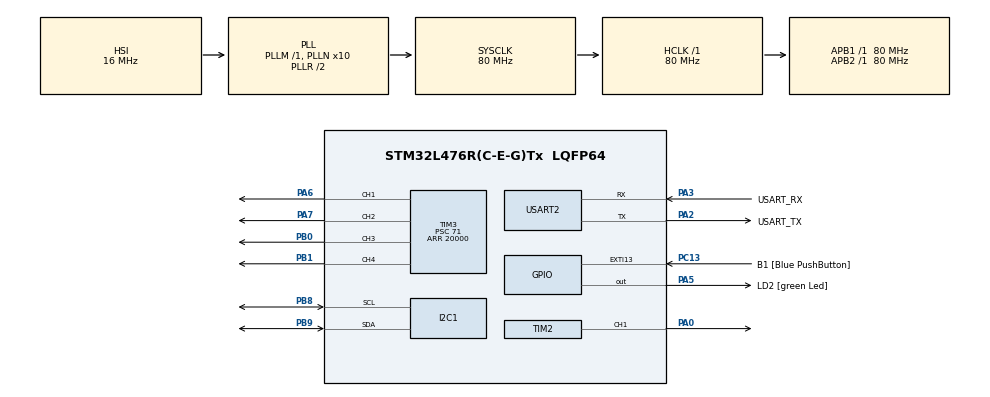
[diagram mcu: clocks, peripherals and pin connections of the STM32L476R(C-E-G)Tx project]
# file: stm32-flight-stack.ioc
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I2C1.Timing=0x10D19CE4
Mcu.Family=STM32L4
Mcu.Name=STM32L476R(C-E-G)Tx
Mcu.Package=LQFP64
NVIC.PriorityGroup=NVIC_PRIORITYGROUP_4
PA0.Signal=S_TIM2_CH1
PA13\ (JTMS-SWDIO).GPIO_Label=TMS
PA13\ (JTMS-SWDIO).Mode=Serial_Wire
PA13\ (JTMS-SWDIO).Signal=SYS_JTMS-SWDIO
PA14\ (JTCK-SWCLK).GPIO_Label=TCK
PA14\ (JTCK-SWCLK).Mode=Serial_Wire
PA14\ (JTCK-SWCLK).Signal=SYS_JTCK-SWCLK
PA2.GPIO_Label=USART_TX
PA2.GPIO_Mode=GPIO_MODE_AF_PP
PA2.GPIO_PuPd=GPIO_NOPULL
PA2.GPIO_Speed=GPIO_SPEED_FREQ_VERY_HIGH
PA2.Mode=Asynchronous
PA2.Signal=USART2_TX
PA3.GPIO_Label=USART_RX
PA3.GPIO_Mode=GPIO_MODE_AF_PP
PA3.GPIO_PuPd=GPIO_NOPULL
PA3.GPIO_Speed=GPIO_SPEED_FREQ_VERY_HIGH
PA3.Mode=Asynchronous
PA3.Signal=USART2_RX
PA5.GPIO_Label=LD2 [green Led]
PA5.GPIO_ModeDefaultOutputPP=GPIO_MODE_OUTPUT_PP
PA5.GPIO_PuPd=GPIO_NOPULL
PA5.GPIO_Speed=GPIO_SPEED_FREQ_LOW
PA5.Signal=GPIO_Output
PA6.Signal=S_TIM3_CH1
PA7.Signal=S_TIM3_CH2
PB0.Signal=S_TIM3_CH3
PB1.Signal=S_TIM3_CH4
PB3\ (JTDO-TRACESWO).GPIO_Label=SWO
PB3\ (JTDO-TRACESWO).Signal=SYS_JTDO-SWO
PB8.Mode=I2C
PB8.Signal=I2C1_SCL
PB9.Mode=I2C
PB9.Signal=I2C1_SDA
PC13.GPIO_Label=B1 [Blue PushButton]
PC13.GPIO_ModeDefaultEXTI=GPIO_MODE_IT_FALLING
PC13.GPIO_PuPd=GPIO_NOPULL
PC13.Signal=GPXTI13
PC14-OSC32_IN\ (PC14).Mode=LSE-External-Oscillator
PC14-OSC32_IN\ (PC14).Signal=RCC_OSC32_IN
PC15-OSC32_OUT\ (PC15).Mode=LSE-External-Oscillator
PC15-OSC32_OUT\ (PC15).Signal=RCC_OSC32_OUT
PH0-OSC_IN\ (PH0).Signal=RCC_OSC_IN
PH1-OSC_OUT\ (PH1).Signal=RCC_OSC_OUT
ProjectManager.HeapSize=0x200
ProjectManager.StackSize=0x400
ProjectManager.TargetToolchain=STM32CubeIDE
RCC.ADCFreq_Value=64000000
RCC.AHBFreq_Value=80000000
RCC.APB1Freq_Value=80000000
RCC.APB1TimFreq_Value=80000000
RCC.APB2Freq_Value=80000000
RCC.APB2TimFreq_Value=80000000
RCC.CortexFreq_Value=80000000
RCC.HCLKFreq_Value=80000000
RCC.HSE_VALUE=8000000
RCC.HSI_VALUE=16000000
RCC.MSI_VALUE=4000000
RCC.PLLN=10
RCC.PLLSourceVirtual=RCC_PLLSOURCE_HSI
RCC.PREFETCH_ENABLE=1
RCC.SYSCLKFreq_VALUE=80000000
RCC.SYSCLKSource=RCC_SYSCLKSOURCE_PLLCLK
RCC.USBFreq_Value=64000000
RCC.VCOOutputFreq_Value=160000000
SH.S_TIM2_CH1.0=TIM2_CH1,PWM Generation1 CH1
SH.S_TIM3_CH1.0=TIM3_CH1,PWM Generation1 CH1
SH.S_TIM3_CH2.0=TIM3_CH2,PWM Generation2 CH2
SH.S_TIM3_CH3.0=TIM3_CH3,PWM Generation3 CH3
SH.S_TIM3_CH4.0=TIM3_CH4,PWM Generation4 CH4
TIM2.Channel-PWM\ Generation1\ CH1=TIM_CHANNEL_1
TIM2.Period=20000
TIM2.Prescaler=71
TIM3.Channel-PWM\ Generation1\ CH1=TIM_CHANNEL_1
TIM3.Channel-PWM\ Generation2\ CH2=TIM_CHANNEL_2
TIM3.Channel-PWM\ Generation3\ CH3=TIM_CHANNEL_3
TIM3.Channel-PWM\ Generation4\ CH4=TIM_CHANNEL_4
TIM3.Period=20000
TIM3.Prescaler=71
USART2.VirtualMode-Asynchronous=VM_ASYNC
VP_TIM2_VS_ClockSourceINT.Mode=Internal
VP_TIM3_VS_ClockSourceINT.Mode=Internal
board=NUCLEO-L476RG

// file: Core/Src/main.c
/* USER CODE BEGIN Header */
/**
  ******************************************************************************
  * @file           : main.c
  * @brief          : Main program body
  ******************************************************************************
  * @attention
  *
  * Copyright (c) 2025 STMicroelectronics.
  * All rights reserved.
  *
  * This software is licensed under terms that can be found in the LICENSE file
  * in the root directory of this software component.
  * If no LICENSE file comes with this software, it is provided AS-IS.
  *
  ******************************************************************************
  */
/* USER CODE END Header */
#include "main.h"

/* USER CODE BEGIN Includes */
#include <math.h>
#include <string.h>
#include <stdio.h>
#include <stdbool.h>

/* USER CODE END Includes */

I2C_HandleTypeDef hi2c1;

TIM_HandleTypeDef htim2;
TIM_HandleTypeDef htim3;

UART_HandleTypeDef huart2;

/* USER CODE BEGIN PV */
// telemetry stuff
uint8_t tx_buf[192];
uint32_t next_telem_ms = 0;
#define TELEMETRY_PERIOD_MS 50
//static uint8_t telem_header_sent = 0;

static inline void uart_print(const char* s) {
  HAL_UART_Transmit(&huart2, (uint8_t*)s, (uint16_t)strlen(s), HAL_MAX_DELAY);
}

int16_t Accel_X_RAW = 0;
int16_t Accel_Y_RAW = 0;
int16_t Accel_Z_RAW = 0;
int16_t Gyro_X_RAW = 0;
int16_t Gyro_Y_RAW = 0;
int16_t Gyro_Z_RAW = 0;

float Ax = 0.0;
float Ay = 0.0;
float Az = 0.0;
float Gx = 0.0;
float Gy = 0.0;
float Gz = 0.0;

// PID stuff
typedef struct pid {
  float Kp, Ki, Kd;
  float error, error_prev;
  float integral, integral_prev;
  float derivative, derivative_prev;
  float out_min, out_max;
  float integral_max, integral_min;
} pid_t;

typedef enum {
  DISARMED = 0,
  ARMED = 1
} arm_state_t;
volatile arm_state_t arm_state = DISARMED;

volatile uint8_t rx_byte = 0;
volatile uint8_t rx_ready = 0;

/* USER CODE END PV */

void SystemClock_Config(void);
static void MX_GPIO_Init(void);
static void MX_USART2_UART_Init(void);
static void MX_I2C1_Init(void);
static void MX_TIM2_Init(void);
static void MX_TIM3_Init(void);

/* USER CODE BEGIN 0 */
#define MPU6050_ADDR (0x68 << 1)

#define SMPLRT_DIV_REG 0x19
#define GYRO_CONFIG_REG 0x18
#define ACCEL_CONFIG_REG 0x1C
#define ACCEL_XOUT_H_REG 0x3B
#define TEMP_OUT_H_REG 0x41
#define GYRO_XOUT_H_REG 0x41
#define PWR_MGMT_1_REG 0x6B
#define WHO_AM_I_REG 0x75

void MPU6050_Init(void) {
	uint8_t check;
	uint8_t data;

	// step 1: check if sensor is responding by checking the WHO_AM_I_REG
	HAL_I2C_Mem_Read(&hi2c1, MPU6050_ADDR, WHO_AM_I_REG,1, &check, 1, 1000);

	if (check == 104) {
		// step 2: configure the PWR_MGMT_1 ()x6B) Register
		// power management register 0x6B -> write all 0s to wake sensor up
		// selects internal clock source of 8MHz
		// Temperature sensor will be enabled
		// CYCLE between sleep mode and wakeup mode will be enabled
		// SLEEP mode will be disabled
		data = 0;
		HAL_I2C_Mem_Write(&hi2c1, MPU6050_ADDR, PWR_MGMT_1_REG, 1, &data, 1, 1000);

		// step 3: set Data Output Rate or Sample Rate
		// - write into SMPLRT_DIV (0x19) Register
		// - specifies the divider from the gyroscope output rate used to generate the Sample Rate for the MPU6050
		data = 0x07;
		HAL_I2C_Mem_Write(&hi2c1, MPU6050_ADDR, SMPLRT_DIV_REG, 1,&data, 1, 1000);

		// step 4: configure Accelerometer and Gyroscope registers by modifying the GYRO_CONFIG (0x1B) and ACCEL_CONFIG (0x1C) registers
		// - sets full scale range of +/- 2g in ACCEL_CONFIG register
		// - sets full scale range of +/- 26-deg/s in GYRO_CONFIG along with Self-test disabled

		// set accelerometer configuration in ACCEL_CONFIG Register
		// XA_ST = 0, YA_ST = 0, ZA_ST = 0, FS_SEL = 0 -> +/- 2g
		data = 0x00;
		HAL_I2C_Mem_Write(&hi2c1, MPU6050_ADDR, ACCEL_CONFIG_REG, 1, &data, 1, 1000);

		// set gyroscopic configuration in GYRO_CONFIG regsiter
		// XG_ST = 0, YG_ST = 0, ZG_ST = 0, FS_SEL = 0 -> +/- 250 deg/second
		data = 0x00;
		HAL_I2C_Mem_Write(&hi2c1, MPU6050_ADDR, GYRO_CONFIG_REG, 1, &data, 1, 1000);

	} else {
		// blink LED to show error
		HAL_GPIO_TogglePin(GPIOA, GPIO_PIN_5);
	}
}

// reading acceleration values:
// - can read one byte from each register separately or just read all 6 bytes in a burst starting from ACCEL_XOUT_H (0x3B) register
// - read 6 bytes of data -> store in Rec_Data buffer

// ACCEL_XOUT_H (ox3B) stores the higher byte for the acceleration data along the X-axis
// ACCEL_XOUT_L stores the lower byte for the acceleration data along the X-axis
// we need to combine these 2 bytes into a 16 bit integer value:
// - shift higher bit 8 bits to the left and add the lower 8 bits to the result
// do the same for the ACCEL_YOUT and ACCEL_ZOUT registers
void MPU6050_Read_Accel(void) {
	uint8_t Rec_Data[6];

	// read 6 bytes of data starting from ACCEL_XOUT_H register
	HAL_I2C_Mem_Read(&hi2c1, MPU6050_ADDR, ACCEL_XOUT_H_REG, 1, Rec_Data, 6, 1000);

	Accel_X_RAW = (int16_t) (Rec_Data[0] << 8 | Rec_Data[1]);
	Accel_Y_RAW = (int16_t) (Rec_Data[2] << 8 | Rec_Data [3]);
	Accel_Z_RAW = (int16_t) (Rec_Data[4] << 8 | Rec_Data[5]);

	// need to convert values to proper g format
	// - for full-scale range of +/- 2g -> sensitivity is 16384 LSB/g
	// - to get g value -> need to divide RAW by 16384
	Ax = (float) Accel_X_RAW / 16384.0;
	Ay = (float) Accel_Y_RAW / 16384.0;
	Az = (float) Accel_Z_RAW / 16384.0;
}

void MPU6050_Read_Accel_Simulated(int16_t imu_data[][6], int imu_index) {
	uint8_t Rec_Data[6];

	// read simulated data from accelerometer
	Accel_X_RAW = imu_data[imu_index][0];
	Accel_Y_RAW = imu_data[imu_index][1];
	Accel_Z_RAW = imu_data[imu_index][2];

	// need to convert values to proper g format
	// - for full-scale range of +/- 2g -> sensitivity is 16384 LSB/g
	// - to get g value -> need to divide RAW by 16384
	Ax = (float) Accel_X_RAW / 16384.0;
	Ay = (float) Accel_Y_RAW / 16384.0;
	Az = (float) Accel_Z_RAW / 16384.0;
}

// do same thing for gyro
void MPU6050_Read_Gyro(void) {
	uint8_t Rec_Data[6];

	// read 6 bytes of data starting from ACCEL_XOUT_H register
	HAL_I2C_Mem_Read(&hi2c1, MPU6050_ADDR, GYRO_XOUT_H_REG, 1, Rec_Data, 6, 1000);

	Gyro_X_RAW = (int16_t) (Rec_Data[0] << 8 | Rec_Data[1]);
	Gyro_Y_RAW = (int16_t) (Rec_Data[2] << 8 | Rec_Data [3]);
	Gyro_Z_RAW = (int16_t) (Rec_Data[4] << 8 | Rec_Data[5]);

	// need to convert values to proper format
	// - for full-scale range of +/- 250 deg/s -> sensitivity is 131 LSB / deg / second
	// - need to divide RAW by 131
	Gx = (float) Gyro_X_RAW / 131.0;
	Gy = (float) Gyro_Y_RAW / 131.0;
	Gz = (float) Gyro_Z_RAW / 131.0;
}

void MPU6050_Read_Gyro_Simulated(int16_t imu_data[][6], int imu_index) {
	uint8_t Rec_Data[6];

	// read simulated data from gyro
	Gyro_X_RAW = imu_data[imu_index][3];
	Gyro_Y_RAW = imu_data[imu_index][4];
	Gyro_Z_RAW = imu_data[imu_index][5];

	// need to convert values to proper format
	// - for full-scale range of +/- 250 deg/s -> sensitivity is 131 LSB / deg / second
	// - need to divide RAW by 131
	Gx = (float) Gyro_X_RAW / 131.0;
	Gy = (float) Gyro_Y_RAW / 131.0;
	Gz = (float) Gyro_Z_RAW / 131.0;
}

typedef struct {
    float pitch;
    float roll;
} Orientation;

Orientation complementary_filter(float pitch, float pitch_acc, float roll, float roll_acc, float alpha) {
	Orientation result;
	result.pitch = alpha * pitch + (1 - alpha) * pitch_acc;
	result.roll = alpha * roll + (1 - alpha) * roll_acc;

	return result;
}

typedef struct u {
  float pitch, roll;
} u_t;

typedef struct omega {
  float pitch, roll;
} omega_t;

typedef struct theta {
  float pitch, roll;
} theta_t;

// pid logic
float update_pid(pid_t* pid, float r, float y, float dt, float alpha) {
  if (dt <= 0.0f) return 0.0f;
  if (alpha < 0.0f) alpha = 0.0f;
  if (alpha > 1.0f) alpha = 1.0f;

  pid->error_prev = pid->error;
  pid->error = r - y;

  pid->integral_prev = pid->integral;
  pid->integral = pid->integral_prev + ((pid->error + pid->error_prev) / 2) * dt;
  if (pid->integral > pid->integral_max) pid->integral = pid->integral_max;
  if (pid->integral < pid->integral_min) pid->integral = pid->integral_min;

  pid->derivative_prev = pid->derivative;
  float raw_derivative = (pid->error - pid->error_prev) / dt;
  pid->derivative = alpha * pid->derivative_prev + (1 - alpha) * raw_derivative;

  float u = pid->Kp*pid->error + pid->Ki*pid->integral + pid->Kd*pid->derivative;

  bool sat_hi = (u > pid->out_max) && (pid->error > 0.0f);
  bool sat_lo = (u < pid->out_min) && (pid->error < 0.0f);
  if (sat_hi || sat_lo) {
    pid->integral = pid->integral_prev; // anti-windup
  }

  if (u > pid->out_max) u = pid->out_max;
  if (u < pid->out_min) u = pid->out_min;

  return u;
}

void angle_pid_loop(pid_t* pid_angle_pitch, pid_t* pid_angle_roll, omega_t* omega, theta_t* theta_set, theta_t* theta_meas, float dt, float alpha) {
  omega->pitch = update_pid(pid_angle_pitch, theta_set->pitch, theta_meas->pitch, dt, alpha);
  omega->roll = update_pid(pid_angle_roll, theta_set->roll, theta_meas->roll, dt, alpha);
}

void rate_pid_loop(pid_t* pid_rate_pitch, pid_t* pid_rate_roll, u_t* u, omega_t* omega, float gx, float gy, float dt, float alpha) {
  u->pitch = update_pid(pid_rate_pitch, omega->pitch, gx, dt, alpha);
  u->roll = update_pid(pid_rate_roll, omega->roll, gy, dt, alpha);
}

void clamp_mix(float* mix) {
    if (*mix < 1000) {
      *mix = 1000;
    } else if (*mix > 2000) {
      *mix = 2000;
    }
  }

  // arming logic stuff
  void pid_zero(pid_t* p) {
    p->error = p->error_prev = 0.0f;
    p->integral = p->integral_prev = 0.0f;
    p->derivative = p->derivative_prev = 0.0f;
  }

  void sync_pwm(uint16_t us) {
    __HAL_TIM_SET_COMPARE(&htim3, TIM_CHANNEL_1, us);
    __HAL_TIM_SET_COMPARE(&htim3, TIM_CHANNEL_2, us);
    __HAL_TIM_SET_COMPARE(&htim3, TIM_CHANNEL_3, us);
    __HAL_TIM_SET_COMPARE(&htim3, TIM_CHANNEL_4, us);
  }

  // UART RX interrupt -> capture 1 byte and re-arm IRQ
  void HAL_UART_RxCpltCallback(UART_HandleTypeDef* huart) {
    if (huart == &huart2) {
      rx_ready = 1;
      HAL_UART_Receive_IT(&huart2, (uint8_t*)&rx_byte, 1);
    }
  }

/* USER CODE END 0 */

int main(void)
{

  /* MCU Configuration--------------------------------------------------------*/

  /* Reset of all peripherals, Initializes the Flash interface and the Systick. */
  HAL_Init();

  /* Configure the system clock */
  SystemClock_Config();

  /* Initialize all configured peripherals */
  MX_GPIO_Init();
  MX_USART2_UART_Init();
  MX_I2C1_Init();
  MX_TIM2_Init();
  MX_TIM3_Init();

  // ---- UART smoke test (blocking) ----
  const char *hello = "BOOT OK\r\n";
  HAL_UART_Transmit(&huart2, (uint8_t*)hello, strlen(hello), HAL_MAX_DELAY);
  for (int i = 0; i < 5; ++i) {
    char buf[64];
    int n = snprintf(buf, sizeof buf, "tick %lu\r\n", (unsigned long)HAL_GetTick());
    HAL_UART_Transmit(&huart2, (uint8_t*)buf, (uint16_t)n, HAL_MAX_DELAY);
    HAL_Delay(500);
  }
  /* USER CODE BEGIN 2 */
  HAL_TIM_PWM_Start(&htim3, TIM_CHANNEL_1);
  HAL_TIM_PWM_Start(&htim3, TIM_CHANNEL_2);
  HAL_TIM_PWM_Start(&htim3, TIM_CHANNEL_3);
  HAL_TIM_PWM_Start(&htim3, TIM_CHANNEL_4);

  __HAL_TIM_SET_COMPARE(&htim3, TIM_CHANNEL_1, 1000);
  __HAL_TIM_SET_COMPARE(&htim3, TIM_CHANNEL_2, 1000);
  __HAL_TIM_SET_COMPARE(&htim3, TIM_CHANNEL_3, 1000);
  __HAL_TIM_SET_COMPARE(&htim3, TIM_CHANNEL_4, 1000);

  // arming thing
  HAL_UART_Receive_IT(&huart2, &rx_byte, 1);
  next_telem_ms = HAL_GetTick();

  MPU6050_Init();

  // mock IMU data for simulation
  int16_t imu_data[][6] = {
      {500, -500, 16000, 30, -40, 20},
      {520, -480, 15900, 32, -42, 22},
      {540, -460, 15800, 35, -44, 24},
      {560, -440, 15700, 37, -46, 26},
      {580, -420, 15600, 39, -48, 28},
      {600, -400, 15500, 41, -50, 30},
      {620, -380, 15400, 43, -52, 32},
      {640, -360, 15300, 45, -54, 34},
      {660, -340, 15200, 47, -56, 36},
      {680, -320, 15100, 49, -58, 38},
      {700, -300, 15000, 51, -60, 40},
      {720, -280, 14900, 53, -62, 42},
      {740, -260, 14800, 55, -64, 44},
      {760, -240, 14700, 57, -66, 46},
      {780, -220, 14600, 59, -68, 48},
      {800, -200, 14500, 61, -70, 50},
      {820, -180, 14400, 63, -72, 52},
      {840, -160, 14300, 65, -74, 54},
      {860, -140, 14200, 67, -76, 56},
      {880, -120, 14100, 69, -78, 58},
  };
  int imu_data_len = sizeof(imu_data) / sizeof(imu_data[0]);
  int imu_index = 0;

  int n = sprintf((char*)tx_buf,
      "H,t_ms,pitch,roll,set_pitch,set_roll,Gx,Gy,omega_sp_pitch,omega_sp_roll,u_rate_pitch,u_rate_roll,armed\r\n");
  uint16_t len = (n > 0 && n < sizeof(tx_buf)) ? (uint16_t)n : (uint16_t)(sizeof(tx_buf) - 1);
  HAL_UART_Transmit(&huart2, tx_buf, len, HAL_MAX_DELAY);
  next_telem_ms = HAL_GetTick();

  /* USER CODE END 2 */

  /* Infinite loop */
  /* USER CODE BEGIN WHILE */
  float pitch = 0.0f;
  float roll = 0.0f;
//  float alpha = 0.98f;

  pid_t pid_angle_pitch;
  pid_t pid_angle_roll;
  pid_t pid_rate_pitch;
  pid_t pid_rate_roll;

  pid_angle_pitch = (pid_t){
    .Kp = 2.2f,
    .Ki = 0.02f,
	.Kd = 0.05f,
    .out_min = -100.0f,
	.out_max = 100.0f,
    .integral_min = -10.0f,
	.integral_max = 10.0f
  };
  pid_angle_roll = pid_angle_pitch;

  // ---- RATE (inner) PID -> outputs motor µs
  pid_rate_pitch = (pid_t){
    .Kp = 12.0f,
    .Ki = 3.0f,
	.Kd = 0.20f,
    .out_min = -250.0f,
	.out_max = 250.0f,
    .integral_min = -80.0f,
	.integral_max = 80.0f
  };
  pid_rate_roll = pid_rate_pitch;

  theta_t theta_set = {.pitch = 0.0f, .roll=0.0f};
  theta_t theta_meas = {.pitch = 0.0f, .roll = 0.0f};

  u_t update_throttle;
  update_throttle.pitch = 0.0f;
  update_throttle.roll = 0.0f;

  int32_t last_outer_ms = HAL_GetTick();
  int32_t last_inner_ms = last_outer_ms;

  const int32_t OUTER_PERIOD_MS = 10;
  const int32_t INNER_PERIOD_MS = 2;

  float dt_outer = OUTER_PERIOD_MS / 1000.0f;
  float dt_inner = INNER_PERIOD_MS / 1000.0f;

  float base_throttle = 1100.f;
  omega_t omega_set;
  omega_set.pitch = 0;
  omega_set.roll = 0;

  while (1)
  {

	// fake arm for plots
	  arm_state = ARMED;

    if (rx_ready) {
      // arming
      int8_t c = rx_byte;
      rx_ready = 0;

      if (c == 'a') {
        arm_state = ARMED;
        pid_zero(&pid_angle_pitch);
        pid_zero(&pid_angle_roll);
        pid_zero(&pid_rate_pitch);
        pid_zero(&pid_rate_roll);
        const char* m = "ARMED\r\n";
        HAL_UART_Transmit(&huart2, (uint8_t*)m, strlen(m), HAL_MAX_DELAY);
      } else if (c == 'd') {
        arm_state = DISARMED;
        pid_zero(&pid_angle_pitch);
        pid_zero(&pid_angle_roll);
        pid_zero(&pid_rate_pitch);
        pid_zero(&pid_rate_roll);
        sync_pwm(1000);
        const char* m = "DISARMED\r\n";
        HAL_UART_Transmit(&huart2, (uint8_t*)m, strlen(m), HAL_MAX_DELAY);
      }

    }

    int32_t now = HAL_GetTick();
    bool inner_due = (int32_t)(now - last_inner_ms) >= INNER_PERIOD_MS;
    bool outer_due = (int32_t)(now - last_outer_ms) >= OUTER_PERIOD_MS;

    // both are due
    if (outer_due) {
      dt_outer = (now - last_outer_ms) / 1000.0f;
      if (dt_outer < 0.0005f) {
        dt_outer = OUTER_PERIOD_MS / 1000.0f;
      }
      last_outer_ms = now;

      // commented out because we are simply simulating
       // read accelerometer and gyro data
//      MPU6050_Read_Accel_Simulated(imu_data, imu_index);
//      MPU6050_Read_Gyro_Simulated(imu_data, imu_index);
//
//      // raw accelerometer estimates
//      float pitch_acc = atan2f(Ay, sqrtf(Ax * Ax + Az * Az)) * 180.0f / M_PI;
//      float roll_acc = atan2f(-Ax, Az) * 180.0f / M_PI;
//
//      // integrate gyro data (rate * dt)
//      pitch += Gx * dt_outer;
//      roll += Gy * dt_outer;
//
//      Orientation filtered = complementary_filter(pitch, pitch_acc, roll, roll_acc, alpha);
//      pitch = filtered.pitch;
//      roll = filtered.roll;

      // mini-plant for plots
      static float motor_cmd_p = 0.0f, motor_cmd_r = 0.0f;
      static float rate_x = 0.0f,    rate_y = 0.0f;

      const float tau_motor = 0.06f;
      const float k_u2acc   = 0.02f;
      const float d_rate    = 0.6f;

      float u_rate_p = update_throttle.pitch;
      float u_rate_r = update_throttle.roll;

      motor_cmd_p += (u_rate_p - motor_cmd_p) * (dt_outer / tau_motor);
      motor_cmd_r += (u_rate_r - motor_cmd_r) * (dt_outer / tau_motor);

      float alpha_x = k_u2acc * motor_cmd_p - d_rate * rate_x;
      float alpha_y = k_u2acc * motor_cmd_r - d_rate * rate_y;

      rate_x += alpha_x * dt_outer;
      rate_y += alpha_y * dt_outer;

      pitch += rate_x * dt_outer;
      roll  += rate_y * dt_outer;

      Gx = rate_x;
      Gy = rate_y;

      // angle pid stuff
      theta_meas.pitch = pitch;
      theta_meas.roll = roll;

      // for plotting
      static uint32_t next_step_ms = 0;   // keeps its value across iterations
      static float sp = -5.0f;           // step size (±10°)

      if (arm_state == ARMED && HAL_GetTick() >= next_step_ms) {
          sp = -sp;                       // flip +10 <-> -10
          theta_set.pitch = sp;           // command pitch step
          theta_set.roll  = sp;         // keep roll at 0
          next_step_ms = HAL_GetTick() + 2000;  // next step in 2 s
      }

      angle_pid_loop(&pid_angle_pitch, &pid_angle_roll, &omega_set, &theta_set, &theta_meas, dt_outer, 0.9f);

      // telemetry
      // telemetry (every 50 ms)
      uint32_t now_ms = HAL_GetTick();
      if ((int32_t)(now_ms - next_telem_ms) >= 0) {
          int n = sprintf((char*)tx_buf,
              "T,%lu,%.3f,%.3f,%.3f,%.3f,%.3f,%.3f,%.2f,%.2f,%.1f,%.1f,%u\r\n",
              (unsigned long)now_ms,
              pitch, roll,
              theta_set.pitch, theta_set.roll,
              Gx, Gy,                          // measured rates (deg/s)
              omega_set.pitch, omega_set.roll, // rate setpoints (deg/s)
              update_throttle.pitch,           // inner loop output (µs)
              update_throttle.roll,
              (arm_state == ARMED));

          uint16_t len = (n > 0 && n < sizeof(tx_buf)) ? (uint16_t)n : (uint16_t)(sizeof(tx_buf) - 1);
          HAL_UART_Transmit(&huart2, tx_buf, len, HAL_MAX_DELAY);

          next_telem_ms += TELEMETRY_PERIOD_MS; // wrap-safe
      }

      imu_index++;
      if (imu_index >= imu_data_len) {
        imu_index = 0;
      }
    }

    if (inner_due) {
      dt_inner = (now - last_inner_ms) / 1000.0f;
      if (dt_inner < 0.0005f) dt_inner = INNER_PERIOD_MS / 1000.0f;
      last_inner_ms = now;
      rate_pid_loop(&pid_rate_pitch, &pid_rate_roll, &update_throttle, &omega_set, Gx, Gy, dt_inner, 0.9f);

      if (arm_state == DISARMED) {
        sync_pwm(1000);
      } else {
        float mix_1 = base_throttle - update_throttle.pitch + update_throttle.roll; // front-right
        float mix_2 = base_throttle - update_throttle.pitch - update_throttle.roll; // front-left
        float mix_3 = base_throttle + update_throttle.pitch - update_throttle.roll; // rear-left
        float mix_4 = base_throttle + update_throttle.pitch + update_throttle.roll; // rear-right

        clamp_mix(&mix_1);
        clamp_mix(&mix_2);
        clamp_mix(&mix_3);
        clamp_mix(&mix_4);

        __HAL_TIM_SET_COMPARE(&htim3, TIM_CHANNEL_1, (uint16_t)mix_1);
        __HAL_TIM_SET_COMPARE(&htim3, TIM_CHANNEL_2, (uint16_t)mix_2);
        __HAL_TIM_SET_COMPARE(&htim3, TIM_CHANNEL_3, (uint16_t)mix_3);
        __HAL_TIM_SET_COMPARE(&htim3, TIM_CHANNEL_4, (uint16_t)mix_4);
      }
    }

    /* USER CODE END WHILE */

  }
}

void SystemClock_Config(void)
{
  RCC_OscInitTypeDef RCC_OscInitStruct = {0};
  RCC_ClkInitTypeDef RCC_ClkInitStruct = {0};

  /** Configure the main internal regulator output voltage
  */
  if (HAL_PWREx_ControlVoltageScaling(PWR_REGULATOR_VOLTAGE_SCALE1) != HAL_OK)
  {
    Error_Handler();
  }

  /** Initializes the RCC Oscillators according to the specified parameters
  * in the RCC_OscInitTypeDef structure.
  */
  RCC_OscInitStruct.OscillatorType = RCC_OSCILLATORTYPE_HSI;
  RCC_OscInitStruct.HSIState = RCC_HSI_ON;
  RCC_OscInitStruct.HSICalibrationValue = RCC_HSICALIBRATION_DEFAULT;
  RCC_OscInitStruct.PLL.PLLState = RCC_PLL_ON;
  RCC_OscInitStruct.PLL.PLLSource = RCC_PLLSOURCE_HSI;
  RCC_OscInitStruct.PLL.PLLM = 1;
  RCC_OscInitStruct.PLL.PLLN = 10;
  RCC_OscInitStruct.PLL.PLLP = RCC_PLLP_DIV7;
  RCC_OscInitStruct.PLL.PLLQ = RCC_PLLQ_DIV2;
  RCC_OscInitStruct.PLL.PLLR = RCC_PLLR_DIV2;
  if (HAL_RCC_OscConfig(&RCC_OscInitStruct) != HAL_OK)
  {
    Error_Handler();
  }

  /** Initializes the CPU, AHB and APB buses clocks
  */
  RCC_ClkInitStruct.ClockType = RCC_CLOCKTYPE_HCLK|RCC_CLOCKTYPE_SYSCLK
                              |RCC_CLOCKTYPE_PCLK1|RCC_CLOCKTYPE_PCLK2;
  RCC_ClkInitStruct.SYSCLKSource = RCC_SYSCLKSOURCE_PLLCLK;
  RCC_ClkInitStruct.AHBCLKDivider = RCC_SYSCLK_DIV1;
  RCC_ClkInitStruct.APB1CLKDivider = RCC_HCLK_DIV1;
  RCC_ClkInitStruct.APB2CLKDivider = RCC_HCLK_DIV1;

  if (HAL_RCC_ClockConfig(&RCC_ClkInitStruct, FLASH_LATENCY_4) != HAL_OK)
  {
    Error_Handler();
  }
}

static void MX_I2C1_Init(void)
{

  hi2c1.Instance = I2C1;
  hi2c1.Init.Timing = 0x10D19CE4;
  hi2c1.Init.OwnAddress1 = 0;
  hi2c1.Init.AddressingMode = I2C_ADDRESSINGMODE_7BIT;
  hi2c1.Init.DualAddressMode = I2C_DUALADDRESS_DISABLE;
  hi2c1.Init.OwnAddress2 = 0;
  hi2c1.Init.OwnAddress2Masks = I2C_OA2_NOMASK;
  hi2c1.Init.GeneralCallMode = I2C_GENERALCALL_DISABLE;
  hi2c1.Init.NoStretchMode = I2C_NOSTRETCH_DISABLE;
  if (HAL_I2C_Init(&hi2c1) != HAL_OK)
  {
    Error_Handler();
  }

  /** Configure Analogue filter
  */
  if (HAL_I2CEx_ConfigAnalogFilter(&hi2c1, I2C_ANALOGFILTER_ENABLE) != HAL_OK)
  {
    Error_Handler();
  }

  /** Configure Digital filter
  */
  if (HAL_I2CEx_ConfigDigitalFilter(&hi2c1, 0) != HAL_OK)
  {
    Error_Handler();
  }

}

static void MX_TIM2_Init(void)
{

  TIM_ClockConfigTypeDef sClockSourceConfig = {0};
  TIM_MasterConfigTypeDef sMasterConfig = {0};
  TIM_OC_InitTypeDef sConfigOC = {0};

  htim2.Instance = TIM2;
  htim2.Init.Prescaler = 71;
  htim2.Init.CounterMode = TIM_COUNTERMODE_UP;
  htim2.Init.Period = 20000;
  htim2.Init.ClockDivision = TIM_CLOCKDIVISION_DIV1;
  htim2.Init.AutoReloadPreload = TIM_AUTORELOAD_PRELOAD_DISABLE;
  if (HAL_TIM_Base_Init(&htim2) != HAL_OK)
  {
    Error_Handler();
  }
  sClockSourceConfig.ClockSource = TIM_CLOCKSOURCE_INTERNAL;
  if (HAL_TIM_ConfigClockSource(&htim2, &sClockSourceConfig) != HAL_OK)
  {
    Error_Handler();
  }
  if (HAL_TIM_PWM_Init(&htim2) != HAL_OK)
  {
    Error_Handler();
  }
  sMasterConfig.MasterOutputTrigger = TIM_TRGO_RESET;
  sMasterConfig.MasterSlaveMode = TIM_MASTERSLAVEMODE_DISABLE;
  if (HAL_TIMEx_MasterConfigSynchronization(&htim2, &sMasterConfig) != HAL_OK)
  {
    Error_Handler();
  }
  sConfigOC.OCMode = TIM_OCMODE_PWM1;
  sConfigOC.Pulse = 0;
  sConfigOC.OCPolarity = TIM_OCPOLARITY_HIGH;
  sConfigOC.OCFastMode = TIM_OCFAST_DISABLE;
  if (HAL_TIM_PWM_ConfigChannel(&htim2, &sConfigOC, TIM_CHANNEL_1) != HAL_OK)
  {
    Error_Handler();
  }
  HAL_TIM_MspPostInit(&htim2);

}

static void MX_TIM3_Init(void)
{

  TIM_ClockConfigTypeDef sClockSourceConfig = {0};
  TIM_MasterConfigTypeDef sMasterConfig = {0};
  TIM_OC_InitTypeDef sConfigOC = {0};

  htim3.Instance = TIM3;
  htim3.Init.Prescaler = 71;
  htim3.Init.CounterMode = TIM_COUNTERMODE_UP;
  htim3.Init.Period = 20000;
  htim3.Init.ClockDivision = TIM_CLOCKDIVISION_DIV1;
  htim3.Init.AutoReloadPreload = TIM_AUTORELOAD_PRELOAD_DISABLE;
  if (HAL_TIM_Base_Init(&htim3) != HAL_OK)
  {
    Error_Handler();
  }
  sClockSourceConfig.ClockSource = TIM_CLOCKSOURCE_INTERNAL;
  if (HAL_TIM_ConfigClockSource(&htim3, &sClockSourceConfig) != HAL_OK)
  {
    Error_Handler();
  }
  if (HAL_TIM_PWM_Init(&htim3) != HAL_OK)
  {
    Error_Handler();
  }
  sMasterConfig.MasterOutputTrigger = TIM_TRGO_RESET;
  sMasterConfig.MasterSlaveMode = TIM_MASTERSLAVEMODE_DISABLE;
  if (HAL_TIMEx_MasterConfigSynchronization(&htim3, &sMasterConfig) != HAL_OK)
  {
    Error_Handler();
  }
  sConfigOC.OCMode = TIM_OCMODE_PWM1;
  sConfigOC.Pulse = 0;
  sConfigOC.OCPolarity = TIM_OCPOLARITY_HIGH;
  sConfigOC.OCFastMode = TIM_OCFAST_DISABLE;
  if (HAL_TIM_PWM_ConfigChannel(&htim3, &sConfigOC, TIM_CHANNEL_1) != HAL_OK)
  {
    Error_Handler();
  }
  if (HAL_TIM_PWM_ConfigChannel(&htim3, &sConfigOC, TIM_CHANNEL_2) != HAL_OK)
  {
    Error_Handler();
  }
  if (HAL_TIM_PWM_ConfigChannel(&htim3, &sConfigOC, TIM_CHANNEL_3) != HAL_OK)
  {
    Error_Handler();
  }
  if (HAL_TIM_PWM_ConfigChannel(&htim3, &sConfigOC, TIM_CHANNEL_4) != HAL_OK)
  {
    Error_Handler();
  }
  HAL_TIM_MspPostInit(&htim3);

}

static void MX_USART2_UART_Init(void)
{

  huart2.Instance = USART2;
  huart2.Init.BaudRate = 115200;
  huart2.Init.WordLength = UART_WORDLENGTH_8B;
  huart2.Init.StopBits = UART_STOPBITS_1;
  huart2.Init.Parity = UART_PARITY_NONE;
  huart2.Init.Mode = UART_MODE_TX_RX;
  huart2.Init.HwFlowCtl = UART_HWCONTROL_NONE;
  huart2.Init.OverSampling = UART_OVERSAMPLING_16;
  huart2.Init.OneBitSampling = UART_ONE_BIT_SAMPLE_DISABLE;
  huart2.AdvancedInit.AdvFeatureInit = UART_ADVFEATURE_NO_INIT;
  if (HAL_UART_Init(&huart2) != HAL_OK)
  {
    Error_Handler();
  }

}

static void MX_GPIO_Init(void)
{
  GPIO_InitTypeDef GPIO_InitStruct = {0};

  /* GPIO Ports Clock Enable */
  __HAL_RCC_GPIOC_CLK_ENABLE();
  __HAL_RCC_GPIOH_CLK_ENABLE();
  __HAL_RCC_GPIOA_CLK_ENABLE();
  __HAL_RCC_GPIOB_CLK_ENABLE();

  /*Configure GPIO pin Output Level */
  HAL_GPIO_WritePin(LD2_GPIO_Port, LD2_Pin, GPIO_PIN_RESET);

  /*Configure GPIO pin : B1_Pin */
  GPIO_InitStruct.Pin = B1_Pin;
  GPIO_InitStruct.Mode = GPIO_MODE_IT_FALLING;
  GPIO_InitStruct.Pull = GPIO_NOPULL;
  HAL_GPIO_Init(B1_GPIO_Port, &GPIO_InitStruct);

  /*Configure GPIO pin : LD2_Pin */
  GPIO_InitStruct.Pin = LD2_Pin;
  GPIO_InitStruct.Mode = GPIO_MODE_OUTPUT_PP;
  GPIO_InitStruct.Pull = GPIO_NOPULL;
  GPIO_InitStruct.Speed = GPIO_SPEED_FREQ_LOW;
  HAL_GPIO_Init(LD2_GPIO_Port, &GPIO_InitStruct);

}

void Error_Handler(void)
{
  __disable_irq();
  while (1)
  {
  }
}
